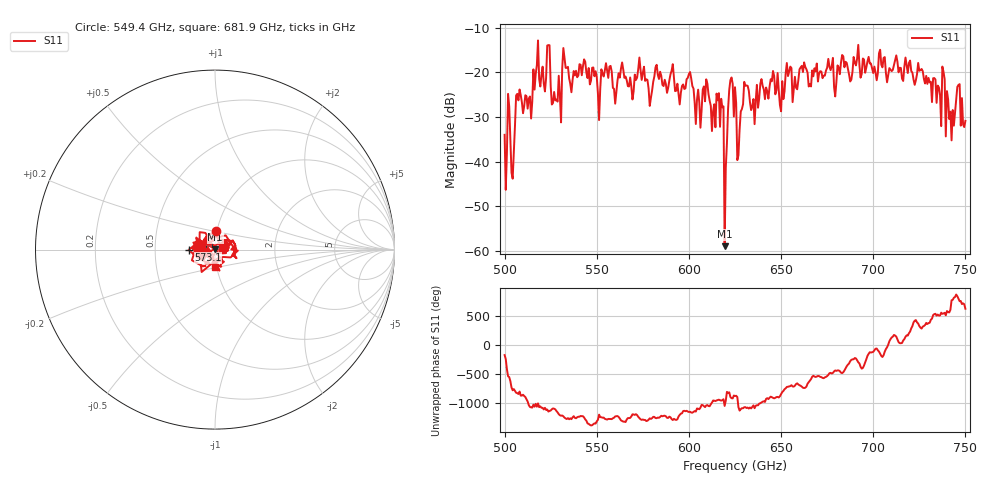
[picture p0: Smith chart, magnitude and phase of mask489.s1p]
!Created with skrf (http://scikit-rf.org).
# GHz S MA R 50.0
!freq magS11 angS11
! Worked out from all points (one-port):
!   401 points, 500 GHz to 750 GHz, reference 50 ohm
!   lowest |S11| = -59.0 dB at 619.4 GHz (marker M1), VSWR 1.00, Z = 50.1 + j0.056 ohm
!   |S11| at or under -10 dB: start of sweep to end of sweep
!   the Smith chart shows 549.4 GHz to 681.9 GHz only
!   S11 on the Smith chart (normalised r, x): 549.4 GHz: 0.99, +0.21; 573.1 GHz: 0.74, -0.00; 681.9 GHz: 0.98, -0.19
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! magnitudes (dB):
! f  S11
! 500 GHz  -34.0
! 504.4 GHz  -43.8
! 507.5 GHz  -26.3
! 513.8 GHz  -25.4
! 516.9 GHz  -20.4
! 523.8 GHz  -13.9
! 526.9 GHz  -24.4
! 531.2 GHz  -19.1
! 549.4 GHz  -19.7
! 562.5 GHz  -21.2
! 573.1 GHz  -16.7
! 593.8 GHz  -22.5
! 616.2 GHz  -24.7
! 619.4 GHz  -59.0
! 620.6 GHz  -35.9
! 622.5 GHz  -21.7
! 625 GHz  -23.3
! 627.5 GHz  -32.8
! 631.2 GHz  -22.9
! 634.4 GHz  -27.7
! 656.2 GHz  -26.7
! 681.9 GHz  -20.4
! 687.5 GHz  -22.0
! 718.8 GHz  -20.1
! 738.8 GHz  -21.5
! 742.5 GHz  -35.2
! 746.9 GHz  -22.6
! 750 GHz  -30.9
